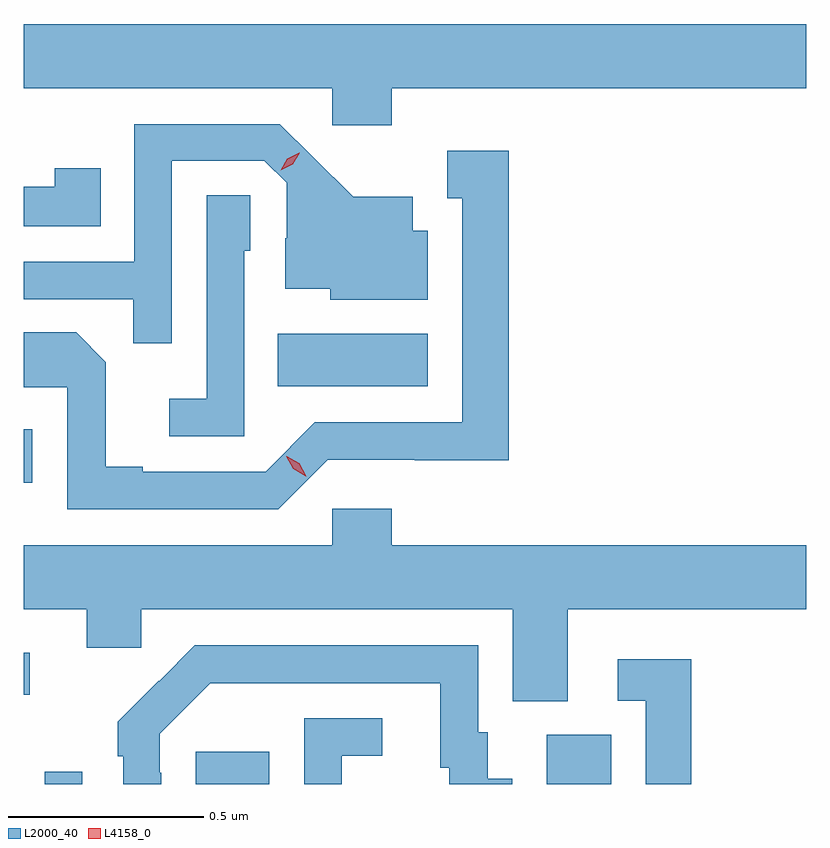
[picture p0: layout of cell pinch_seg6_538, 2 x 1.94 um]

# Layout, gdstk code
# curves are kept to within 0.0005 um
import gdstk
lib = gdstk.Library(unit=1e-6, precision=1e-09)
def R(c, l, rs):  # rectangles x0, y0, x1, y1
    for r in rs: c.add(gdstk.rectangle(r[:2], r[2:], *l))
def P(c, l, *ps):  # polygons
    for p in ps: c.add(gdstk.Polygon(p, *l))
L2000_40 = (2000, 40)
L4158_0 = (4158, 0)

pinch_seg6_538 = lib.new_cell('pinch_seg6_538')
R(pinch_seg6_538, L2000_40, [(790.341,946.89,790.437,946.921), (790.727,946.89,790.915,946.972), (791.624,946.89,791.788,947.016), (790.287,947.118,790.303,947.226), (790.287,947.66,790.309,947.796), (790.936,947.906,791.32,948.04)])
P(pinch_seg6_538, L2000_40, [(791.228,948.668),(792.287,948.668),(792.287,948.832),(790.287,948.832),(790.287,948.668),(791.076,948.668),(791.076,948.573),(791.228,948.573)],
  [(790.665,948.483),(790.902,948.483),(790.959,948.426),(790.959,948.284),(790.955,948.284),(790.955,948.155),(791.07,948.155),(791.07,948.128),(791.32,948.128),(791.32,948.304),(791.281,948.304),(791.281,948.391),(791.129,948.391),(790.942,948.576),(790.569,948.576),(790.569,948.225),(790.287,948.225),(790.287,948.129),(790.567,948.129),(790.567,948.016),(790.665,948.016)],
  [(791.064,947.718),(791.286,947.718),(791.286,947.717),(791.527,947.717),(791.527,948.508),(791.369,948.508),(791.369,948.387),(791.408,948.387),(791.408,947.814),(791.031,947.814),(790.905,947.688),(790.591,947.688),(790.591,947.701),(790.497,947.701),(790.497,947.968),(790.421,948.044),(790.287,948.044),(790.287,947.904),(790.398,947.904),(790.398,947.592),(790.938,947.592)],
  [(790.484,948.463),(790.366,948.463),(790.366,948.416),(790.287,948.416),(790.287,948.315),(790.484,948.315)],
  [(790.851,948.252),(790.866,948.252),(790.866,948.395),(790.755,948.395),(790.755,947.875),(790.659,947.875),(790.659,947.778),(790.851,947.778)],
  [(791.677,947.336),(792.287,947.336),(792.287,947.5),(791.228,947.5),(791.228,947.593),(791.076,947.593),(791.076,947.5),(790.287,947.5),(790.287,947.336),(790.448,947.336),(790.448,947.238),(790.587,947.238),(790.587,947.336),(791.537,947.336),(791.537,947.101),(791.677,947.101)],
  [(790.638,946.919),(790.635,946.919),(790.635,947.019),(790.764,947.148),(791.351,947.148),(791.351,946.932),(791.375,946.932),(791.375,946.89),(791.536,946.89),(791.536,946.903),(791.473,946.903),(791.473,947.022),(791.448,947.022),(791.448,947.244),(790.724,947.244),(790.633,947.153),(790.632,947.154),(790.527,947.049),(790.527,946.961),(790.542,946.961),(790.542,946.89),(790.638,946.89)],
  [(791.993,947.209),(791.805,947.209),(791.805,947.103),(791.877,947.103),(791.877,946.89),(791.993,946.89)],
  [(791.1,946.962),(791.203,946.962),(791.203,947.058),(791.004,947.058),(791.004,946.89),(791.1,946.89)])
P(pinch_seg6_538, L4158_0, [(791.008,947.677),(790.976,947.696),(790.958,947.728),(790.958,947.728),(790.959,947.728),(790.991,947.71),(791.009,947.677),(791.009,947.677)],
  [(790.944,948.458),(790.944,948.458),(790.961,948.488),(790.991,948.503),(790.992,948.503),(790.992,948.503),(790.975,948.473),(790.944,948.458)])

lib.write_gds('pinch_seg6_538.gds')
